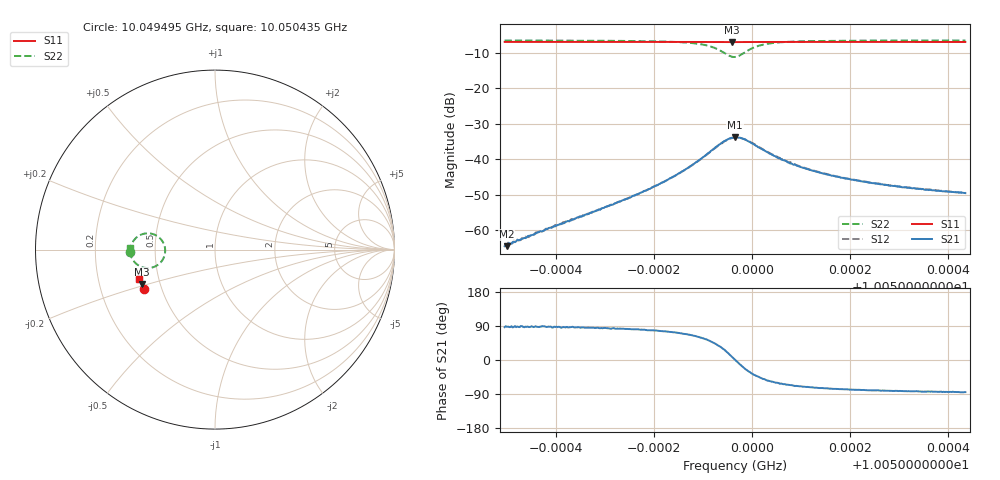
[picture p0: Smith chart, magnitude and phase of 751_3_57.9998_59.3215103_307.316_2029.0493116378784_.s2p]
#  HZ  S  RI  R  50.00
! Rohde & Schwarz Vector Network Analyzer
! Rohde-Schwarz,ZNB20-2Port,1311601062101988,3.16
! Created: UTC 3/21/2024, 1:24:00 AM
! freq[Hz]  re:S11  im:S11  re:S21  im:S21  re:S12  im:S12  re:S22  im:S22
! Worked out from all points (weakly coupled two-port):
!   401 points, 10.049495 GHz to 10.050435 GHz, reference 50 ohm
!   highest |S21| = -33.73 dB at 10.049965 GHz (marker M1); lowest = -64.4 dB at 10.0495 GHz (marker M2)
!   lowest |S11| = -6.9 dB at 10.049958 GHz (marker M3), VSWR 2.64, Z = 19.7 - j9.52 ohm
!   |S11| at or under -10 dB: nowhere
!   |S22| runs from -11.1 to -6.5 dB; largest |S21 - S12| = 0.0018
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1.00494952e10  -0.3966 -0.2204  3.66e-05 0.0006  -2.34e-05 0.00061  -0.4738 -0.013
1.00494999e10  -0.3968 -0.2202  2.61e-05 0.0006  -4.71e-06 0.000618  -0.4738 -0.0125
1.00495821e10  -0.3992 -0.2152  5.15e-05 0.00104  -2.04e-06 0.00105  -0.4731 -0.00314
1.00496526e10  -0.4014 -0.211  0.000109 0.00156  2.35e-05 0.00158  -0.4716 0.00668
1.0049749e10  -0.4041 -0.2051  0.000421 0.00286  0.000243 0.00286  -0.4668 0.0247
1.00498101e10  -0.4058 -0.2014  0.00103 0.00439  0.000741 0.00441  -0.4587 0.0421
1.00498641e10  -0.4072 -0.1978  0.00267 0.00674  0.00223 0.00684  -0.4395 0.0658
1.00499017e10  -0.4079 -0.1953  0.00604 0.00916  0.0054 0.00945  -0.4038 0.0864
1.00499182e10  -0.408 -0.1941  0.00912 0.01  0.00832 0.0104  -0.3744 0.0911
1.00499346e10  -0.408 -0.1931  0.0134 0.00953  0.0126 0.0103  -0.3336 0.082
1.00499464e10  -0.4079 -0.1927  0.0171 0.00748  0.0162 0.00866  -0.3024 0.0586
1.00499581e10  -0.4076 -0.1921  0.0199 0.0033  0.0193 0.00481  -0.2805 0.0183
1.00499652e10  -0.4078 -0.192  0.0206 0.000306  0.0203 0.00191  -0.2776 -0.0111
1.00499769e10  -0.4083 -0.1919  0.0195 -0.0046  0.0199 -0.0029  -0.2921 -0.0573
1.0049991e10  -0.4087 -0.1915  0.016 -0.00866  0.0169 -0.00733  -0.3294 -0.0918
1.00500075e10  -0.4096 -0.1909  0.0118 -0.0103  0.0128 -0.00966  -0.3731 -0.1029
1.00500239e10  -0.4104 -0.19  0.00866 -0.0104  0.00944 -0.00986  -0.4052 -0.098
1.0050078e10  -0.4125 -0.1864  0.00354 -0.00802  0.00421 -0.0082  -0.4515 -0.0657
1.00501226e10  -0.4136 -0.1838  0.00214 -0.00664  0.00253 -0.00658  -0.4636 -0.0461
1.00501861e10  -0.4153 -0.1797  0.00123 -0.00536  0.00154 -0.00533  -0.4702 -0.0277
1.00502801e10  -0.4176 -0.174  0.00065 -0.00423  0.000903 -0.00422  -0.4736 -0.0101
1.00504352e10  -0.4212 -0.1644  0.000308 -0.00335  0.000457 -0.00336  -0.475 0.0091
